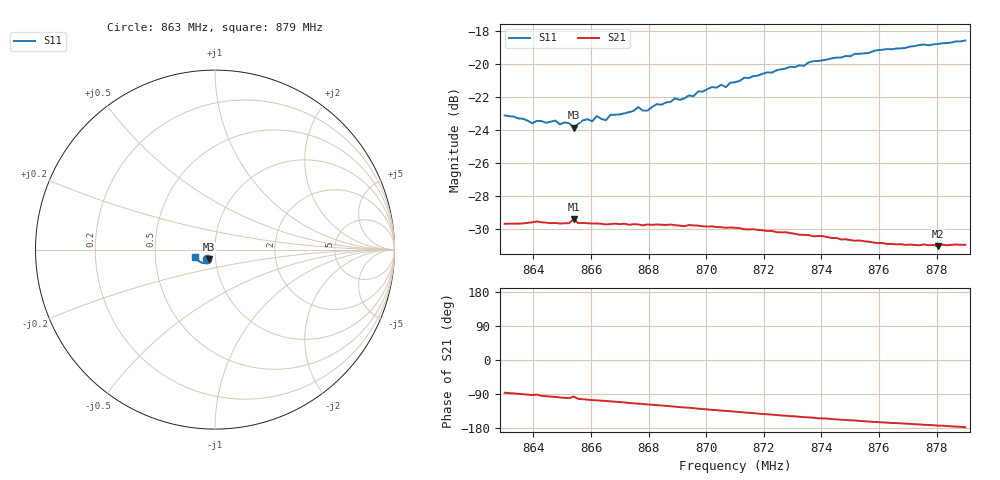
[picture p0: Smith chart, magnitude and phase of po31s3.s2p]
# HZ S RI R 50
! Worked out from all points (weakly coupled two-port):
!   101 points, 863 MHz to 879 MHz, reference 50 ohm
!   highest |S21| = -29.42 dB at 865.4 MHz (marker M1); lowest = -31.1 dB at 878.04 MHz (marker M2)
!   lowest |S11| = -23.9 dB at 865.4 MHz (marker M3), VSWR 1.14, Z = 46.4 - j5 ohm
!   |S11| at or under -10 dB: start of sweep to end of sweep
!   S12 and S22 are empty: the file has one direction only
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8.63e8  -0.0448 -0.0536  0.0021 -0.0327  0 0  0 0
8.6396e8  -0.0389 -0.0534  -0.00137 -0.033  0 0  0 0
8.6476e8  -0.0378 -0.0558  -0.00425 -0.0326  0 0  0 0
8.6492e8  -0.0361 -0.0548  -0.00498 -0.0324  0 0  0 0
8.6524e8  -0.0361 -0.0554  -0.00609 -0.0323  0 0  0 0
8.654e8  -0.0349 -0.0537  -0.0039 -0.0336  0 0  0 0
8.6572e8  -0.0344 -0.0581  -0.00772 -0.032  0 0  0 0
8.6604e8  -0.0335 -0.0581  -0.00894 -0.0315  0 0  0 0
8.662e8  -0.0354 -0.0599  -0.00926 -0.0315  0 0  0 0
8.6652e8  -0.0338 -0.0586  -0.0101 -0.031  0 0  0 0
8.6668e8  -0.0346 -0.0611  -0.0107 -0.0308  0 0  0 0
8.6732e8  -0.0352 -0.0622  -0.0129 -0.0298  0 0  0 0
8.6764e8  -0.0365 -0.0644  -0.0139 -0.0295  0 0  0 0
8.6796e8  -0.0349 -0.0633  -0.0149 -0.029  0 0  0 0
8.6828e8  -0.0367 -0.066  -0.0159 -0.0284  0 0  0 0
8.6844e8  -0.0364 -0.0659  -0.0162 -0.0282  0 0  0 0
8.6892e8  -0.0381 -0.0689  -0.0177 -0.0271  0 0  0 0
8.71e8  -0.0481 -0.0738  -0.023 -0.022  0 0  0 0
8.7372e8  -0.0695 -0.0748  -0.0265 -0.014  0 0  0 0
8.7644e8  -0.0924 -0.0614  -0.0276 -0.0067  0 0  0 0
8.7804e8  -0.1042 -0.0491  -0.0278 -0.00333  0 0  0 0
8.79e8  -0.1111 -0.0399  -0.0282 -0.0013  0 0  0 0
